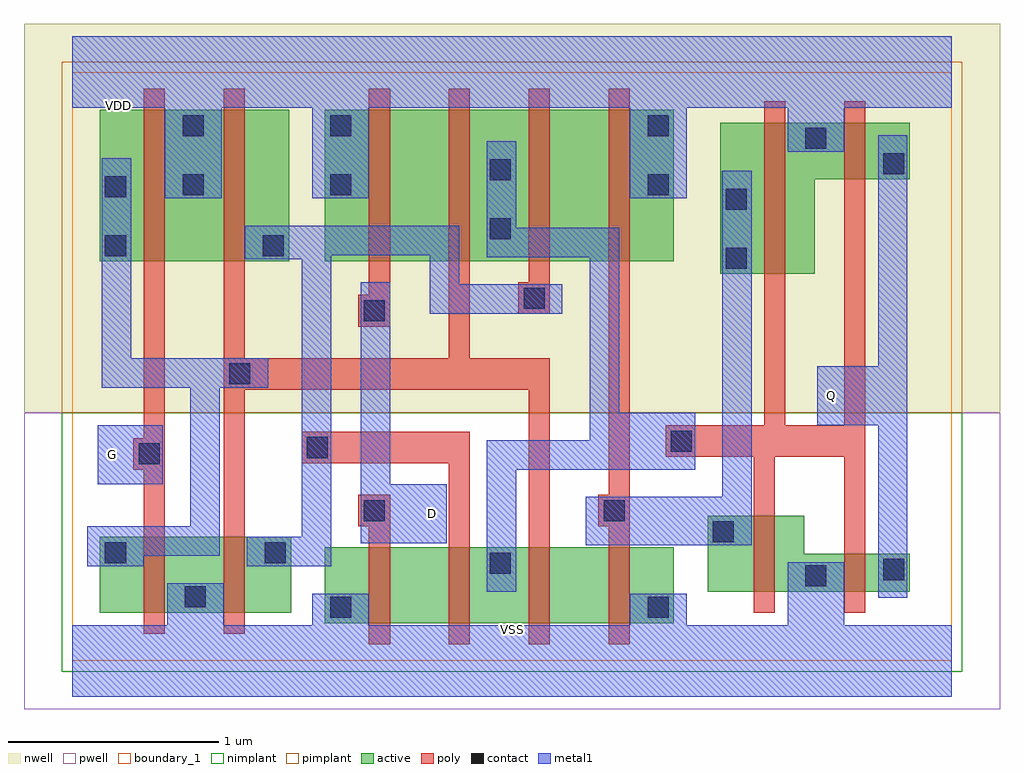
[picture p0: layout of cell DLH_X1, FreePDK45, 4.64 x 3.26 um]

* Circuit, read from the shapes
.subckt DLH_X1 D G Q VDD VSS
M1 VSS G n1 VSUBS nfet w=0.36u l=0.1u
M2 n2 n1 VSS VSUBS nfet w=0.36u l=0.1u
M3 n3 D VSS VSUBS nfet w=0.36u l=0.1u
M4 n4 n2 n3 VSUBS nfet w=0.36u l=0.1u
M5 n5 n1 n4 VSUBS nfet w=0.36u l=0.1u
M6 VSS n6 n5 VSUBS nfet w=0.36u l=0.1u
M7 VSS n4 n6 VSUBS nfet w=0.36u l=0.1u
M8 Q n4 VSS VSUBS nfet w=0.18u l=0.1u
M9 VDD G n1 n7 pfet w=0.72u l=0.1u
M10 n2 n1 VDD n7 pfet w=0.72u l=0.1u
M11 n8 D VDD n7 pfet w=0.72u l=0.1u
M12 n4 n1 n8 n7 pfet w=0.72u l=0.1u
M13 n9 n2 n4 n7 pfet w=0.72u l=0.1u
M14 VDD n6 n9 n7 pfet w=0.72u l=0.1u
M15 VDD n4 n6 n7 pfet w=0.72u l=0.1u
M16 Q n4 VDD n7 pfet w=0.27u l=0.1u
.ends

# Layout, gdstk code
import gdstk
lib = gdstk.Library(unit=1e-6, precision=1e-09)
def R(c, l, rs):  # rectangles x0, y0, x1, y1
    for r in rs: c.add(gdstk.rectangle(r[:2], r[2:], *l))
def P(c, l, *ps):  # polygons
    for p in ps: c.add(gdstk.Polygon(p, *l))
active = (1, 0)
pwell = (2, 0)
nwell = (3, 0)
nimplant = (4, 0)
pimplant = (5, 0)
poly = (9, 0)
contact = (10, 0)
metal1 = (11, 0)
boundary_1 = (235, 1)

dlh_x1 = lib.new_cell('DLH_X1')
R(dlh_x1, active, [(1.2,0.18,2.86,0.54), (0.13,0.23,1.04,0.59), (0.13,1.9,1.03,2.62), (1.2,1.9,2.86,2.62)])
P(dlh_x1, active, [(3.08,1.84),(3.53,1.84),(3.53,2.29),(3.98,2.29),(3.98,2.56),(3.08,2.56)],
  [(3.02,0.33),(3.98,0.33),(3.98,0.51),(3.48,0.51),(3.48,0.69),(3.02,0.69)])
R(dlh_x1, pwell, [(-0.23,-0.23,4.41,1.18)])
R(dlh_x1, nwell, [(-0.23,1.18,4.41,3.03)])
R(dlh_x1, nimplant, [(-0.05,-0.05,4.23,1.18)])
R(dlh_x1, pimplant, [(-0.05,1.18,4.23,2.85)])
P(dlh_x1, poly, [(2.82,0.97),(3.24,0.97),(3.24,0.23),(3.34,0.23),(3.34,0.97),(3.67,0.97),(3.67,0.23),(3.77,0.23),(3.77,2.66),(3.67,2.66),(3.67,1.12),(3.39,1.12),(3.39,2.66),(3.29,2.66),(3.29,1.12),(2.82,1.12)],
  [(2.5,0.64),(2.55,0.64),(2.55,0.08),(2.65,0.08),(2.65,2.72),(2.55,2.72),(2.55,0.79),(2.5,0.79)],
  [(2.12,1.65),(2.27,1.65),(2.27,2.72),(2.17,2.72),(2.17,1.8),(2.12,1.8)],
  [(0.72,0.13),(0.82,0.13),(0.82,1.29),(2.17,1.29),(2.17,0.08),(2.27,0.08),(2.27,1.44),(1.89,1.44),(1.89,2.72),(1.79,2.72),(1.79,1.44),(0.82,1.44),(0.82,2.72),(0.72,2.72)],
  [(1.09,0.94),(1.79,0.94),(1.79,0.08),(1.89,0.08),(1.89,1.09),(1.09,1.09)],
  [(1.36,1.59),(1.51,1.59),(1.51,2.72),(1.41,2.72),(1.41,1.74),(1.36,1.74)],
  [(1.36,0.64),(1.41,0.64),(1.41,0.08),(1.51,0.08),(1.51,0.79),(1.36,0.79)],
  [(0.29,0.91),(0.34,0.91),(0.34,0.13),(0.44,0.13),(0.44,2.72),(0.34,2.72),(0.34,1.06),(0.29,1.06)])
R(dlh_x1, contact, [(1.225,0.205,1.325,0.305), (2.735,0.205,2.835,0.305), (0.535,0.255,0.635,0.355), (3.485,0.355,3.585,0.455), (3.855,0.385,3.955,0.485), (1.985,0.415,2.085,0.515), (0.155,0.465,0.255,0.565), (0.915,0.465,1.015,0.565), (3.045,0.565,3.145,0.665), (1.385,0.665,1.485,0.765), (2.525,0.665,2.625,0.765), (0.315,0.935,0.415,1.035), (1.115,0.965,1.215,1.065), (2.845,0.995,2.945,1.095), (0.745,1.315,0.845,1.415), (1.385,1.615,1.485,1.715), (2.145,1.675,2.245,1.775), (3.105,1.865,3.205,1.965), (0.155,1.925,0.255,2.025), (0.905,1.925,1.005,2.025), (1.985,2.005,2.085,2.105), (3.105,2.145,3.205,2.245), (0.155,2.205,0.255,2.305), (0.525,2.215,0.625,2.315), (1.225,2.215,1.325,2.315), (2.735,2.215,2.835,2.315), (1.985,2.285,2.085,2.385), (3.855,2.315,3.955,2.415), (3.485,2.435,3.585,2.535), (0.525,2.495,0.625,2.595), (1.225,2.495,1.325,2.595), (2.735,2.495,2.835,2.595)])
R(dlh_x1, metal1, [(0.12,0.84,0.43,1.12), (0.12,0.84,0.43,1.12)])
P(dlh_x1, metal1, [(1.37,0.56),(1.78,0.56),(1.78,0.84),(1.51,0.84),(1.51,1.8),(1.37,1.8)],
  [(0,-0.17),(4.18,-0.17),(4.18,0.17),(3.67,0.17),(3.67,0.47),(3.4,0.47),(3.4,0.17),(2.92,0.17),(2.92,0.32),(2.65,0.32),(2.65,0.17),(1.41,0.17),(1.41,0.32),(1.14,0.32),(1.14,0.17),(0.72,0.17),(0.72,0.37),(0.45,0.37),(0.45,0.17),(0,0.17)],
  [(3.54,1.12),(3.83,1.12),(3.83,0.3),(3.97,0.3),(3.97,2.5),(3.83,2.5),(3.83,1.4),(3.54,1.4)],
  [(0,2.63),(0.44,2.63),(0.44,2.2),(0.71,2.2),(0.71,2.63),(1.14,2.63),(1.14,2.2),(1.41,2.2),(1.41,2.63),(2.65,2.63),(2.65,2.2),(2.92,2.2),(2.92,2.63),(3.4,2.63),(3.4,2.42),(3.67,2.42),(3.67,2.63),(4.18,2.63),(4.18,2.97),(0,2.97)],
  [(0,2.63),(0.44,2.63),(0.44,2.2),(0.71,2.2),(0.71,2.63),(1.14,2.63),(1.14,2.2),(1.41,2.2),(1.41,2.63),(2.65,2.63),(2.65,2.2),(2.92,2.2),(2.92,2.63),(3.4,2.63),(3.4,2.42),(3.67,2.42),(3.67,2.63),(4.18,2.63),(4.18,2.97),(0,2.97)],
  [(0,-0.17),(4.18,-0.17),(4.18,0.17),(3.67,0.17),(3.67,0.47),(3.4,0.47),(3.4,0.17),(2.92,0.17),(2.92,0.32),(2.65,0.32),(2.65,0.17),(1.41,0.17),(1.41,0.32),(1.14,0.32),(1.14,0.17),(0.72,0.17),(0.72,0.37),(0.45,0.37),(0.45,0.17),(0,0.17)],
  [(3.54,1.12),(3.83,1.12),(3.83,0.3),(3.97,0.3),(3.97,2.5),(3.83,2.5),(3.83,1.4),(3.54,1.4)],
  [(2.44,0.55),(3.23,0.55),(3.23,2.33),(3.09,2.33),(3.09,0.78),(2.44,0.78)],
  [(1.97,1.92),(2.46,1.92),(2.46,1.05),(1.97,1.05),(1.97,0.33),(2.11,0.33),(2.11,0.91),(2.96,0.91),(2.96,1.18),(2.6,1.18),(2.6,2.06),(2.11,2.06),(2.11,2.47),(1.97,2.47)],
  [(0.82,1.91),(1.09,1.91),(1.09,0.59),(0.83,0.59),(0.83,0.45),(1.23,0.45),(1.23,1.93),(1.7,1.93),(1.7,1.65),(2.33,1.65),(2.33,1.79),(1.84,1.79),(1.84,2.07),(0.82,2.07)],
  [(1.37,0.56),(1.78,0.56),(1.78,0.84),(1.51,0.84),(1.51,1.8),(1.37,1.8)],
  [(0.14,1.3),(0.56,1.3),(0.56,0.64),(0.07,0.64),(0.07,0.45),(0.34,0.45),(0.34,0.5),(0.7,0.5),(0.7,1.3),(0.93,1.3),(0.93,1.44),(0.28,1.44),(0.28,2.39),(0.14,2.39)])
R(dlh_x1, boundary_1, [(0,0,4.18,2.8)])
dlh_x1.add(gdstk.Label('VSS', (2.09,0.15), layer=11, texttype=0))
dlh_x1.add(gdstk.Label('VDD', (0.22,2.64), layer=11, texttype=0))
dlh_x1.add(gdstk.Label('Q', (3.61,1.26), layer=11, texttype=0))
dlh_x1.add(gdstk.Label('G', (0.19,0.98), layer=11, texttype=0))
dlh_x1.add(gdstk.Label('D', (1.71,0.7), layer=11, texttype=0))

lib.write_gds('DLH_X1.gds')
